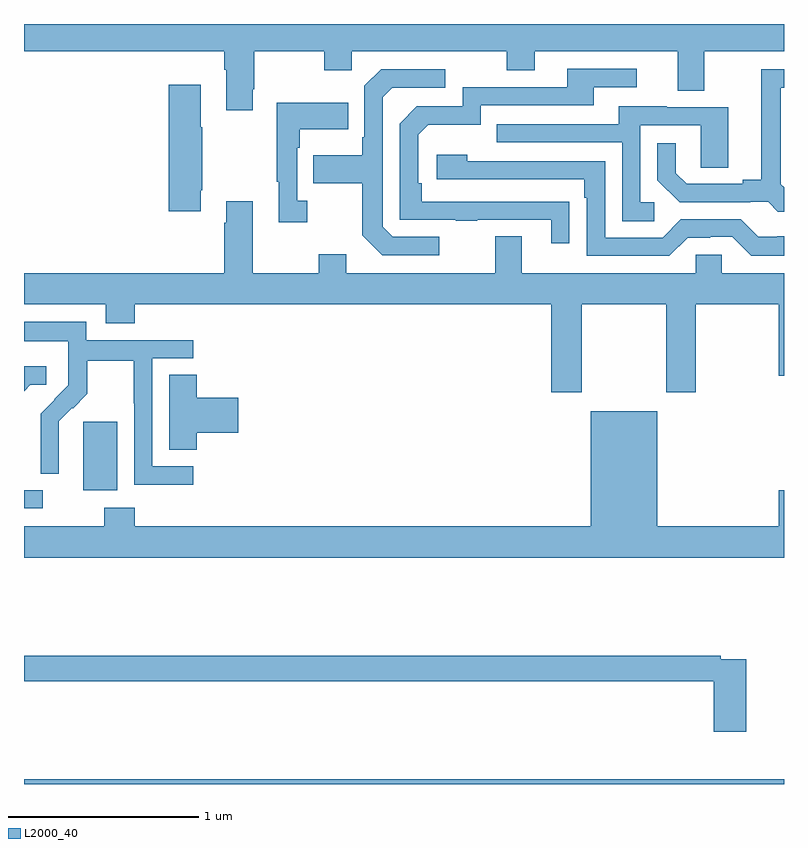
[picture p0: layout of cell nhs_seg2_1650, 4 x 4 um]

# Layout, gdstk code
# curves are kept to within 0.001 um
import gdstk
lib = gdstk.Library(unit=1e-6, precision=1e-09)
def R(c, l, rs):  # rectangles x0, y0, x1, y1
    for r in rs: c.add(gdstk.rectangle(r[:2], r[2:], *l))
def P(c, l, *ps):  # polygons
    for p in ps: c.add(gdstk.Polygon(p, *l))
L2000_40 = (2000, 40)

nhs_seg2_1650 = lib.new_cell('nhs_seg2_1650')
R(nhs_seg2_1650, L2000_40, [(197,623.8,201,623.824), (197,625.251,197.098,625.347), (197.312,625.346,197.491,625.707)])
P(nhs_seg2_1650, L2000_40, [(198.58,627.557),(198.726,627.557),(198.726,627.656),(199.54,627.656),(199.54,627.557),(199.687,627.557),(199.687,627.656),(200.441,627.656),(200.441,627.448),(200.581,627.448),(200.581,627.656),(201,627.656),(201,627.8),(197,627.8),(197,627.656),(198.053,627.656),(198.053,627.56),(198.065,627.56),(198.065,627.345),(198.205,627.345),(198.205,627.457),(198.213,627.457),(198.213,627.656),(198.58,627.656)],
  [(199.871,626.864),(199.094,626.865),(199.094,626.962),(199.074,626.962),(199.074,627.216),(199.127,627.269),(199.404,627.269),(199.404,627.372),(199.999,627.372),(199.999,627.468),(200.224,627.468),(200.224,627.564),(199.859,627.564),(199.859,627.468),(199.308,627.468),(199.308,627.366),(199.068,627.366),(198.978,627.276),(198.978,626.769),(199.273,626.769),(199.273,626.764),(199.385,626.764),(199.385,626.769),(199.775,626.769),(199.775,626.646),(199.871,626.646)],
  [(199.186,626.679),(198.942,626.679),(198.888,626.733),(198.888,627.414),(198.939,627.465),(199.216,627.465),(199.216,627.561),(198.879,627.561),(198.792,627.474),(198.792,627.205),(198.78,627.205),(198.78,627.109),(198.523,627.109),(198.523,626.962),(198.78,626.962),(198.78,626.689),(198.885,626.583),(199.186,626.583)],
  [(201,626.94),(200.983,626.957),(200.983,627.465),(201,627.465),(201,627.561),(200.879,627.561),(200.879,626.981),(200.783,626.981),(200.783,626.958),(200.488,626.958),(200.431,627.015),(200.431,627.172),(200.334,627.172),(200.334,626.978),(200.45,626.862),(200.822,626.862),(200.822,626.865),(200.916,626.865),(200.968,626.813),(201,626.813)],
  [(197.929,626.926),(197.937,626.926),(197.937,627.257),(197.929,627.257),(197.929,627.481),(197.762,627.481),(197.762,626.814),(197.929,626.814)],
  [(198.49,626.87),(198.438,626.87),(198.438,627.149),(198.451,627.149),(198.451,627.245),(198.707,627.245),(198.707,627.385),(198.33,627.385),(198.33,626.969),(198.341,626.969),(198.341,626.757),(198.49,626.757)],
  [(200.317,626.862),(200.244,626.862),(200.244,627.267),(200.562,627.267),(200.562,627.043),(200.707,627.043),(200.707,627.363),(200.383,627.363),(200.383,627.367),(200.129,627.367),(200.129,627.273),(199.489,627.273),(199.489,627.177),(200.148,627.177),(200.148,626.761),(200.317,626.761)],
  [(201,626.683),(200.965,626.683),(200.965,626.679),(200.865,626.679),(200.772,626.772),(200.457,626.772),(200.361,626.676),(200.058,626.676),(200.058,627.078),(199.334,627.078),(199.334,627.112),(199.173,627.112),(199.173,626.982),(199.949,626.982),(199.949,626.885),(199.962,626.885),(199.962,626.58),(200.397,626.58),(200.493,626.676),(200.612,626.676),(200.612,626.679),(200.727,626.679),(200.827,626.579),(201,626.579)],
  [(199.935,626.324),(200.38,626.324),(200.38,625.863),(200.535,625.863),(200.535,626.324),(200.972,626.324),(200.972,625.95),(201,625.95),(201,626.488),(200.673,626.488),(200.673,626.586),(200.535,626.586),(200.535,626.488),(199.621,626.488),(199.621,626.683),(199.481,626.683),(199.481,626.488),(198.697,626.488),(198.697,626.587),(198.55,626.587),(198.55,626.488),(198.205,626.488),(198.205,626.866),(198.065,626.866),(198.065,626.753),(198.053,626.753),(198.053,626.488),(197,626.488),(197,626.324),(197.429,626.324),(197.429,626.225),(197.582,626.225),(197.582,626.324),(199.775,626.324),(199.775,625.863),(199.935,625.863)],
  [(197.89,625.473),(197.676,625.473),(197.676,626.04),(197.89,626.04),(197.89,626.136),(197.328,626.136),(197.328,626.233),(197,626.233),(197,626.129),(197.232,626.129),(197.232,625.995),(197.234,625.995),(197.234,625.898),(197.088,625.75),(197.088,625.432),(197.184,625.432),(197.183,625.709),(197.253,625.779),(197.256,625.776),(197.333,625.853),(197.333,626.028),(197.578,626.028),(197.578,625.804),(197.58,625.804),(197.58,625.375),(197.89,625.375)],
  [(197.034,625.902),(197.116,625.902),(197.116,625.999),(197,625.999),(197,625.868)],
  [(197.909,625.649),(198.127,625.649),(198.127,625.832),(197.909,625.832),(197.909,625.955),(197.765,625.955),(197.765,625.558),(197.909,625.558)],
  [(201,625.345),(200.972,625.345),(200.972,625.156),(200.332,625.156),(200.332,625.762),(199.982,625.762),(199.982,625.156),(197.582,625.156),(197.582,625.255),(197.422,625.255),(197.422,625.156),(197,625.156),(197,624.992),(201,624.992)],
  [(200.8,624.456),(200.666,624.456),(200.666,624.476),(197,624.476),(197,624.34),(200.63,624.34),(200.63,624.075),(200.8,624.075)])

lib.write_gds('nhs_seg2_1650.gds')
